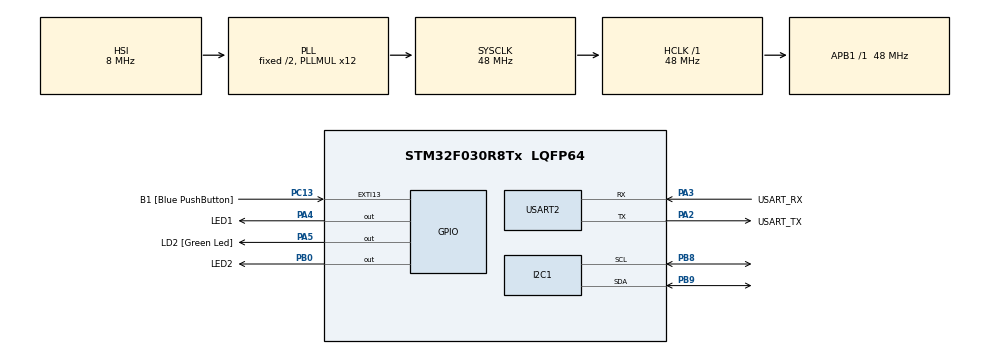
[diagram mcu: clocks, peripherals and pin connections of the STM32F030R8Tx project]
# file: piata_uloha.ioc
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Dma.Request0=USART2_RX
Dma.USART2_RX.0.Direction=DMA_PERIPH_TO_MEMORY
Dma.USART2_RX.0.Instance=DMA1_Channel5
Dma.USART2_RX.0.MemDataAlignment=DMA_MDATAALIGN_BYTE
Dma.USART2_RX.0.MemInc=DMA_MINC_ENABLE
Dma.USART2_RX.0.Mode=DMA_CIRCULAR
Dma.USART2_RX.0.PeriphDataAlignment=DMA_PDATAALIGN_BYTE
Dma.USART2_RX.0.PeriphInc=DMA_PINC_DISABLE
Dma.USART2_RX.0.Priority=DMA_PRIORITY_LOW
Mcu.Family=STM32F0
Mcu.Name=STM32F030R8Tx
Mcu.Package=LQFP64
NVIC.DMA1_Channel4_5_IRQn=true\:0\:0\:false\:false\:true\:false\:true\:true
PA13.GPIO_Label=TMS
PA13.Mode=Serial_Wire
PA13.Signal=SYS_SWDIO
PA14.GPIO_Label=TCK
PA14.Mode=Serial_Wire
PA14.Signal=SYS_SWCLK
PA2.GPIO_Label=USART_TX
PA2.GPIO_Mode=GPIO_MODE_AF_PP
PA2.GPIO_PuPd=GPIO_NOPULL
PA2.GPIO_Speed=GPIO_SPEED_FREQ_LOW
PA2.Mode=Asynchronous
PA2.Signal=USART2_TX
PA3.GPIO_Label=USART_RX
PA3.GPIO_Mode=GPIO_MODE_AF_PP
PA3.GPIO_PuPd=GPIO_NOPULL
PA3.GPIO_Speed=GPIO_SPEED_FREQ_LOW
PA3.Mode=Asynchronous
PA3.Signal=USART2_RX
PA4.GPIO_Label=LED1
PA4.Signal=GPIO_Output
PA5.GPIO_Label=LD2 [Green Led]
PA5.GPIO_Mode=GPIO_MODE_OUTPUT_PP
PA5.GPIO_PuPd=GPIO_NOPULL
PA5.GPIO_Speed=GPIO_SPEED_FREQ_LOW
PA5.Signal=GPIO_Output
PB0.GPIO_Label=LED2
PB0.Signal=GPIO_Output
PB8.Mode=I2C
PB8.Signal=I2C1_SCL
PB9.Mode=I2C
PB9.Signal=I2C1_SDA
PC13.GPIO_Label=B1 [Blue PushButton]
PC13.GPIO_ModeDefaultEXTI=GPIO_MODE_IT_FALLING
PC13.Signal=GPXTI13
PC14-OSC32_IN.Mode=LSE-External-Oscillator
PC14-OSC32_IN.Signal=RCC_OSC32_IN
PC15-OSC32_OUT.Mode=LSE-External-Oscillator
PC15-OSC32_OUT.Signal=RCC_OSC32_OUT
PF0-OSC_IN.Mode=HSE-External-Clock-Source
PF0-OSC_IN.Signal=RCC_OSC_IN
PF1-OSC_OUT.Signal=RCC_OSC_OUT
ProjectManager.HeapSize=0x200
ProjectManager.StackSize=0x400
ProjectManager.TargetToolchain=STM32CubeIDE
RCC.AHBFreq_Value=48000000
RCC.APB1Freq_Value=48000000
RCC.APB1TimFreq_Value=48000000
RCC.HCLKFreq_Value=48000000
RCC.PLLMUL=RCC_PLL_MUL12
RCC.SYSCLKFreq_VALUE=48000000
RCC.SYSCLKSource=RCC_SYSCLKSOURCE_PLLCLK
USART2.VirtualMode-Asynchronous=VM_ASYNC
board=NUCLEO-F030R8

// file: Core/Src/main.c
/* USER CODE BEGIN Header */
/**
  ******************************************************************************
  * @file           : main.c
  * @brief          : Main program body
  ******************************************************************************
  * @attention
  *
  * Copyright (c) 2023 STMicroelectronics.
  * All rights reserved.
  *
  * This software is licensed under terms that can be found in the LICENSE file
  * in the root directory of this software component.
  * If no LICENSE file comes with this software, it is provided AS-IS.
  *
  ******************************************************************************
  */
/* USER CODE END Header */
#include "main.h"

/* USER CODE BEGIN Includes */
#include <stdio.h>
#include <string.h>
#include <stdlib.h>
/* USER CODE END Includes */

/* USER CODE BEGIN PD */
#define RX_BUFFER_LEN 64
#define CMD_BUFFER_LEN 256
#define EEPROM_ADDR  0xA0
static uint8_t uart_rx_buf[RX_BUFFER_LEN];
static volatile uint16_t uart_rx_read_ptr = 0;
#define uart_rx_write_ptr (RX_BUFFER_LEN - hdma_usart2_rx.Instance->CNDTR)
/* USER CODE END PD */

I2C_HandleTypeDef hi2c1;

UART_HandleTypeDef huart2;
DMA_HandleTypeDef hdma_usart2_rx;

void SystemClock_Config(void);
static void MX_GPIO_Init(void);
static void MX_DMA_Init(void);
static void MX_USART2_UART_Init(void);
static void MX_I2C1_Init(void);

/* USER CODE BEGIN 0 */
int _write(int file, char const *buf, int n)
{
 /* stdout redirection to UART2 */
 HAL_UART_Transmit(&huart2, (uint8_t*)(buf), n, HAL_MAX_DELAY);
 return n;
}

static void uart_process_command(char* data) {
	const char* error = "Invalid command\n";
	char *token;
	token = strtok(data, " ");
	if (strcasecmp(token, "HELLO") == 0) {
	 printf("Komunikace OK\n");
	}else if (strcasecmp(token, "LED1") == 0) {
		 token = strtok(NULL, " ");
		 if (token==NULL) {
		 	printf(error);
		 	return;
		 }
		 if (strcasecmp(token, "ON") == 0){
			 HAL_GPIO_WritePin(LED1_GPIO_Port, LED1_Pin, GPIO_PIN_SET);
		 } else if (strcasecmp(token, "OFF")== 0){
			 HAL_GPIO_WritePin(LED1_GPIO_Port, LED1_Pin, GPIO_PIN_RESET);
		 } else{
			 printf(error);
			 return;
		 }
		 printf("OK\n");
	}else if (strcasecmp(token, "LED2") == 0) {
		 token = strtok(NULL, " ");
		 if (token==NULL) {
			 printf(error);
			 return;
		 }
		 if (strcasecmp(token, "ON") == 0){
			 HAL_GPIO_WritePin(LED2_GPIO_Port, LED2_Pin, GPIO_PIN_SET);
		 } else if (strcasecmp(token, "OFF") == 0){
			 HAL_GPIO_WritePin(LED2_GPIO_Port, LED2_Pin, GPIO_PIN_RESET);
		 }
		 printf("OK\n");
	}else if (strcasecmp(token, "STATUS") == 0) {
		 GPIO_PinState led1 = HAL_GPIO_ReadPin(LED1_GPIO_Port, LED1_Pin);
		 GPIO_PinState led2 = HAL_GPIO_ReadPin(LED2_GPIO_Port, LED2_Pin);
		 const char* led1_text = led1 ? "on" : "off";
		 const char* led2_text = led2 ? "on" : "off";
		 printf("LED1 state: %s, LED2 state: %s \n", led1_text, led2_text);
	}else if (strcasecmp(token, "READ") == 0) {
		// read requested address
		token = strtok(NULL, " ");
		if (token==NULL){
			printf(error);
			return;
		}
		uint16_t addr = atoi(token);
		uint8_t value;
		if (HAL_I2C_Mem_Read(&hi2c1, EEPROM_ADDR, addr, I2C_MEMADD_SIZE_16BIT, &value, 1, 1000) == HAL_OK){
			printf("Adresa 0x%04X : %d\n", addr, value);
		}
	}else if (strcasecmp(token, "WRITE") == 0) {
		// read address to be written to
		token = strtok(NULL, " ");
		if (token == NULL) {
			printf(error);
			return;
		}
		uint16_t addr = atoi(token);
		// read value to be written
		token = strtok(NULL, " ");
		if (token == NULL) {
			printf(error);
			return;
		}
		uint8_t value = atoi(token);
		if (HAL_I2C_Mem_Write(&hi2c1, EEPROM_ADDR, addr, I2C_MEMADD_SIZE_16BIT, &value, 1, 1000) == HAL_OK) {
			printf("OK\n");
		}
		/* Check if the EEPROM is ready for a new operation */
		while (HAL_I2C_IsDeviceReady(&hi2c1, EEPROM_ADDR, 300, 1000) == HAL_TIMEOUT) {}
	}else if (strcasecmp(token, "DUMP") == 0) {
		uint8_t value;
		for (uint8_t addr = 0; addr<8; addr++){
			if (HAL_I2C_Mem_Read(&hi2c1, EEPROM_ADDR, addr, I2C_MEMADD_SIZE_16BIT, &value, 1, 1000) != HAL_OK){
				// ked sa nepodari citanie z pamate
				return;
			}
			printf("0x%02X ", value);
		}
		printf("\n");
		for (uint8_t addr = 8; addr<16; addr++){
			if (HAL_I2C_Mem_Read(&hi2c1, EEPROM_ADDR, addr,
					I2C_MEMADD_SIZE_16BIT, &value, 1, 1000) != HAL_OK) {
				return;
			}
			printf("0x%02X ", value);
		}
		printf("\n");
	}else {
		printf(error);
	}
}

static void uart_byte_available(uint8_t c) {
	static uint16_t cnt;
	static char data[CMD_BUFFER_LEN];
	if (cnt < CMD_BUFFER_LEN && c >= 32 && c <= 126)
		data[cnt++] = c;
	if ((c == '\n' || c == '\r') && cnt > 0) {
		data[cnt] = '\0';
		uart_process_command(data);
		cnt = 0;
	}
}

/* USER CODE END 0 */

int main(void)
{

  /* MCU Configuration--------------------------------------------------------*/

  /* Reset of all peripherals, Initializes the Flash interface and the Systick. */
  HAL_Init();

  /* Configure the system clock */
  SystemClock_Config();

  /* Initialize all configured peripherals */
  MX_GPIO_Init();
  MX_DMA_Init();
  MX_USART2_UART_Init();
  MX_I2C1_Init();
  /* USER CODE BEGIN 2 */
  HAL_UART_Receive_DMA(&huart2, uart_rx_buf, RX_BUFFER_LEN);
  /* USER CODE END 2 */

  /* Infinite loop */
  while (1)
  {

    /* USER CODE BEGIN 3 */
	  //uint8_t c;
	  //HAL_UART_Receive(&huart2, &c, 1, HAL_MAX_DELAY);
	  //HAL_UART_Transmit(&huart2, &c, 1, HAL_MAX_DELAY);
	  while (uart_rx_read_ptr != uart_rx_write_ptr) {
		   uint8_t b = uart_rx_buf[uart_rx_read_ptr];
		   if (++uart_rx_read_ptr >= RX_BUFFER_LEN) uart_rx_read_ptr = 0; // increase read pointer
		   uart_byte_available(b); // process every received byte with the RX state machine
	  }

  }
  /* USER CODE END 3 */
}

void SystemClock_Config(void)
{
  RCC_OscInitTypeDef RCC_OscInitStruct = {0};
  RCC_ClkInitTypeDef RCC_ClkInitStruct = {0};
  RCC_PeriphCLKInitTypeDef PeriphClkInit = {0};

  /** Initializes the RCC Oscillators according to the specified parameters
  * in the RCC_OscInitTypeDef structure.
  */
  RCC_OscInitStruct.OscillatorType = RCC_OSCILLATORTYPE_HSI;
  RCC_OscInitStruct.HSIState = RCC_HSI_ON;
  RCC_OscInitStruct.HSICalibrationValue = RCC_HSICALIBRATION_DEFAULT;
  RCC_OscInitStruct.PLL.PLLState = RCC_PLL_ON;
  RCC_OscInitStruct.PLL.PLLSource = RCC_PLLSOURCE_HSI;
  RCC_OscInitStruct.PLL.PLLMUL = RCC_PLL_MUL12;
  RCC_OscInitStruct.PLL.PREDIV = RCC_PREDIV_DIV1;
  if (HAL_RCC_OscConfig(&RCC_OscInitStruct) != HAL_OK)
  {
    Error_Handler();
  }

  /** Initializes the CPU, AHB and APB buses clocks
  */
  RCC_ClkInitStruct.ClockType = RCC_CLOCKTYPE_HCLK|RCC_CLOCKTYPE_SYSCLK
                              |RCC_CLOCKTYPE_PCLK1;
  RCC_ClkInitStruct.SYSCLKSource = RCC_SYSCLKSOURCE_PLLCLK;
  RCC_ClkInitStruct.AHBCLKDivider = RCC_SYSCLK_DIV1;
  RCC_ClkInitStruct.APB1CLKDivider = RCC_HCLK_DIV1;

  if (HAL_RCC_ClockConfig(&RCC_ClkInitStruct, FLASH_LATENCY_1) != HAL_OK)
  {
    Error_Handler();
  }
  PeriphClkInit.PeriphClockSelection = RCC_PERIPHCLK_I2C1;
  PeriphClkInit.I2c1ClockSelection = RCC_I2C1CLKSOURCE_HSI;
  if (HAL_RCCEx_PeriphCLKConfig(&PeriphClkInit) != HAL_OK)
  {
    Error_Handler();
  }
}

static void MX_I2C1_Init(void)
{

  hi2c1.Instance = I2C1;
  hi2c1.Init.Timing = 0x2000090E;
  hi2c1.Init.OwnAddress1 = 0;
  hi2c1.Init.AddressingMode = I2C_ADDRESSINGMODE_7BIT;
  hi2c1.Init.DualAddressMode = I2C_DUALADDRESS_DISABLE;
  hi2c1.Init.OwnAddress2 = 0;
  hi2c1.Init.OwnAddress2Masks = I2C_OA2_NOMASK;
  hi2c1.Init.GeneralCallMode = I2C_GENERALCALL_DISABLE;
  hi2c1.Init.NoStretchMode = I2C_NOSTRETCH_DISABLE;
  if (HAL_I2C_Init(&hi2c1) != HAL_OK)
  {
    Error_Handler();
  }

  /** Configure Analogue filter
  */
  if (HAL_I2CEx_ConfigAnalogFilter(&hi2c1, I2C_ANALOGFILTER_ENABLE) != HAL_OK)
  {
    Error_Handler();
  }

  /** Configure Digital filter
  */
  if (HAL_I2CEx_ConfigDigitalFilter(&hi2c1, 0) != HAL_OK)
  {
    Error_Handler();
  }

}

static void MX_USART2_UART_Init(void)
{

  huart2.Instance = USART2;
  huart2.Init.BaudRate = 38400;
  huart2.Init.WordLength = UART_WORDLENGTH_8B;
  huart2.Init.StopBits = UART_STOPBITS_1;
  huart2.Init.Parity = UART_PARITY_NONE;
  huart2.Init.Mode = UART_MODE_TX_RX;
  huart2.Init.HwFlowCtl = UART_HWCONTROL_NONE;
  huart2.Init.OverSampling = UART_OVERSAMPLING_16;
  huart2.Init.OneBitSampling = UART_ONE_BIT_SAMPLE_DISABLE;
  huart2.AdvancedInit.AdvFeatureInit = UART_ADVFEATURE_NO_INIT;
  if (HAL_UART_Init(&huart2) != HAL_OK)
  {
    Error_Handler();
  }

}

static void MX_DMA_Init(void)
{

  /* DMA controller clock enable */
  __HAL_RCC_DMA1_CLK_ENABLE();

  /* DMA interrupt init */
  /* DMA1_Channel4_5_IRQn interrupt configuration */
  HAL_NVIC_SetPriority(DMA1_Channel4_5_IRQn, 0, 0);
  HAL_NVIC_EnableIRQ(DMA1_Channel4_5_IRQn);

}

static void MX_GPIO_Init(void)
{
  GPIO_InitTypeDef GPIO_InitStruct = {0};

  /* GPIO Ports Clock Enable */
  __HAL_RCC_GPIOC_CLK_ENABLE();
  __HAL_RCC_GPIOF_CLK_ENABLE();
  __HAL_RCC_GPIOA_CLK_ENABLE();
  __HAL_RCC_GPIOB_CLK_ENABLE();

  /*Configure GPIO pin Output Level */
  HAL_GPIO_WritePin(GPIOA, LED1_Pin|LD2_Pin, GPIO_PIN_RESET);

  /*Configure GPIO pin Output Level */
  HAL_GPIO_WritePin(LED2_GPIO_Port, LED2_Pin, GPIO_PIN_RESET);

  /*Configure GPIO pin : B1_Pin */
  GPIO_InitStruct.Pin = B1_Pin;
  GPIO_InitStruct.Mode = GPIO_MODE_IT_FALLING;
  GPIO_InitStruct.Pull = GPIO_NOPULL;
  HAL_GPIO_Init(B1_GPIO_Port, &GPIO_InitStruct);

  /*Configure GPIO pins : LED1_Pin LD2_Pin */
  GPIO_InitStruct.Pin = LED1_Pin|LD2_Pin;
  GPIO_InitStruct.Mode = GPIO_MODE_OUTPUT_PP;
  GPIO_InitStruct.Pull = GPIO_NOPULL;
  GPIO_InitStruct.Speed = GPIO_SPEED_FREQ_LOW;
  HAL_GPIO_Init(GPIOA, &GPIO_InitStruct);

  /*Configure GPIO pin : LED2_Pin */
  GPIO_InitStruct.Pin = LED2_Pin;
  GPIO_InitStruct.Mode = GPIO_MODE_OUTPUT_PP;
  GPIO_InitStruct.Pull = GPIO_NOPULL;
  GPIO_InitStruct.Speed = GPIO_SPEED_FREQ_LOW;
  HAL_GPIO_Init(LED2_GPIO_Port, &GPIO_InitStruct);

}

void Error_Handler(void)
{
  __disable_irq();
  while (1)
  {
  }
}
